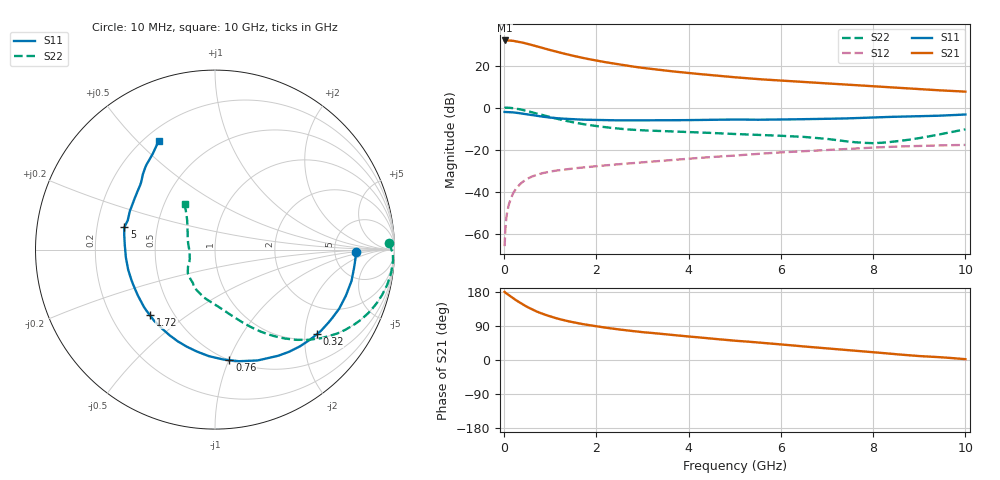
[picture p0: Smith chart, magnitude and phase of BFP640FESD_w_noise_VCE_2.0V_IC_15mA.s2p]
! Infineon Technologies  Discrete & RF Semiconductors
! BFP640FESD
! VCE =  2.0 V,  IC =  15 mA
! Common Emitter S-Parameters:  Jan 2016
# GHz  S  MA  R  50
!  f  S11  S21  S12  S22
! GHz  MAG  ANG  MAG  ANG  MAG  ANG  MAG  ANG
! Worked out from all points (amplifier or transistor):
!   233 points, 10 MHz to 10 GHz, reference 50 ohm
!   highest |S21| = 32.0 dB at 10 MHz (marker M1)
!   |S21| within 3 dB of that: start of sweep to 738.9 MHz
!   unconditionally stable (mu >= 1): 4.651 GHz to end of sweep
!   at 200 MHz: K = 0.07, MSG = 36.2 dB, |S12| = -40.6 dB
!   at 1.74 GHz: K = 0.63, MSG = 26.0 dB, |S12| = -28.5 dB
!   at 10 GHz: K = 1.10, MAG = 10.7 dB, |S12| = -17.8 dB
!   lowest NFmin = 0.78 dB at 450 MHz
!   S11 on the Smith chart (normalised r, x): 10 MHz: 8.30, -0.60; 320 MHz: 1.11, -2.30; 760 MHz: 0.50, -1.00; 1.72 GHz: 0.37, -0.37; 5 GHz: 0.32, +0.11; 10 GHz: 0.25, +0.58
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0.01  0.786 -1.0  39.6 179.8  0.0005 115.1  0.9705 2.1
0.02  0.7851 -2.7  39.58 178.2  0.001 92.4  0.991 -1.2
0.1  0.7805 -12.9  39.58 171.5  0.0048 83.7  0.9899 -7.5
0.15  0.7731 -19.4  39.23 167.0  0.007 81.5  0.9796 -11.5
0.26  0.7518 -32.7  37.7 157.6  0.0118 74.5  0.9425 -19.5
0.32  0.7376 -39.8  36.73 153.0  0.0141 71.3  0.9163 -23.6
0.4  0.717 -48.8  35.19 146.9  0.0169 67.5  0.8777 -28.7
0.5  0.6882 -59.3  33.07 140.0  0.0201 63.3  0.8258 -34.5
0.6  0.6616 -69.0  30.92 133.7  0.0227 59.7  0.773 -39.6
0.76  0.621 -82.6  27.61 125.4  0.026 55.3  0.6938 -46.4
0.98  0.5797 -98.7  23.69 115.7  0.0296 51.0  0.5994 -54.3
1.2  0.5516 -112.1  20.46 107.9  0.0324 48.4  0.5227 -60.9
1.4  0.5331 -122.1  18.05 102.0  0.0345 47.1  0.4672 -65.9
1.68  0.5167 -133.4  15.45 95.3  0.0371 46.1  0.4093 -72.0
1.72  0.5149 -134.7  15.12 94.4  0.0375 46.1  0.4025 -72.8
2.4  0.497 -154.1  11.04 82.0  0.0439 45.9  0.3215 -85.9
3.4  0.4973 -173.3  7.798 68.9  0.0537 46.4  0.276 -101.9
5  0.5201 166.1  5.264 50.9  0.0718 44.6  0.2346 -120.4
5.1  0.5184 165.2  5.159 50.1  0.0732 44.6  0.2324 -121.0
6.8  0.5346 145.5  3.854 32.7  0.0946 38.5  0.187 -143.9
8.4  0.6005 130.3  3.025 16.3  0.1165 31.2  0.1527 167.8
10  0.6838 117.3  2.393 2.2  0.1289 21.6  0.3037 123.8
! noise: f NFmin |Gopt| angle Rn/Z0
0.45  0.78  0.07  1  0.09
2.4  0.82  0.04  141  0.09
5.5  1.04  0.25  172  0.08
10  1.62  0.44  -113  0.24
